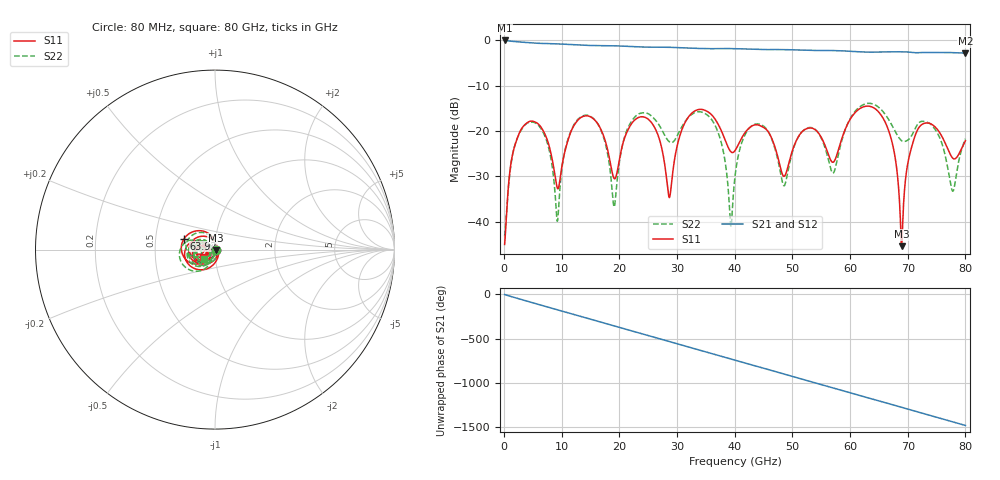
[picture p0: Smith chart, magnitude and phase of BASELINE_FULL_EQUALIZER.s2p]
! TOUCHSTONE file generated by CST MICROWAVE STUDIO
! Date and time: Tue Nov 17 14:09:01 2026
! Project name: BASELINE - FULL EQUALIZER.cst
! Parameters = {N_CELL3=7; EL_L3=1.44; BEND_RADIUS=0.1025; BOX_H=0.0047; CAP_H=0.0014; CAP_W=0.002; CLAD_H=0.0036; DEV_L=3.7; DEV_W=1.2; EL_L=2.7; EL_L2=1.44; GAP=0.00445; GAP2=0.0048; ISTANBUL_V1=0; L1=0.02; L2=0.066; L_OFF=0.04; MTX=0.002; N_CELL=14; N_CELL2=7; PITCH=0.18; SI_H=0.525; SLAB_H=0.000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
! Header version: 2024
! Port assignment regex: !\s*Touchstone port\s*([0-9]+)\s*=\s*(CST MWS port|CST DES external port|CST DES block port)\s*(.+)\s* \(\"(.*)\"\)(\s*mode\s*([0-9]+))?.*
! Touchstone port assignment:
! Touchstone port 1 = CST MWS port 1 ("")
! Touchstone port 2 = CST MWS port 2 ("")
# GHz S MA R 50
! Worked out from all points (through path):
!   1000 points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, 80 MHz to 80 GHz, reference 50 ohm
!   highest |S21| = -0.05 dB at 80 MHz (marker M1); lowest = -2.8 dB at 80 GHz (marker M2)
!   group delay of S21, straight-line fit = 51.3 ps
!   lowest |S11| = -45.4 dB at 68.96 GHz (marker M3), VSWR 1.01, Z = 50.5 - j0.212 ohm
!   |S11| at or under -10 dB: start of sweep to end of sweep
!   |S22| runs from -43.2 to -13.9 dB; largest |S21 - S12| = 0.0013
!   S11 on the Smith chart (normalised r, x): 80 MHz: 1.01, -0.00; 63.92 GHz: 0.70, +0.09; 80 GHz: 0.88, -0.08
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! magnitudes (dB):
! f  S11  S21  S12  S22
! 80 MHz  -45.0  0.0  -0.1  -43.2
! 3.12 GHz  -19.3  -0.4  -0.4  -19.5
! 6.96 GHz  -20.4  -0.7  -0.7  -20.8
! 9.2 GHz  -32.5  -0.8  -0.8  -39.9
! 13.44 GHz  -16.9  -1.1  -1.1  -16.8
! 19.12 GHz  -30.5  -1.2  -1.2  -36.7
! 21.92 GHz  -18.7  -1.4  -1.4  -18.2
! 26.72 GHz  -21.0  -1.5  -1.5  -18.4
! 28.64 GHz  -34.7  -1.6  -1.6  -22.4
! 32.96 GHz  -15.7  -1.8  -1.8  -16.0
! 37.04 GHz  -18.3  -1.8  -1.8  -20.1
! 39.28 GHz  -24.5  -1.8  -1.8  -40.8
! 40.08 GHz  -24.2  -1.9  -1.9  -29.6
! 43.04 GHz  -18.9  -2.0  -2.0  -18.8
! 53.36 GHz  -19.4  -2.2  -2.2  -19.3
! 57.04 GHz  -26.9  -2.3  -2.3  -29.3
! 63.92 GHz  -14.8  -2.6  -2.6  -14.0
! 66.72 GHz  -20.0  -2.6  -2.6  -17.5
! 68.96 GHz  -45.4  -2.6  -2.6  -22.2
! 72.08 GHz  -19.0  -2.7  -2.7  -18.0
! 77.76 GHz  -25.9  -2.7  -2.7  -33.2
! 80 GHz  -22.2  -2.8  -2.9  -21.7
